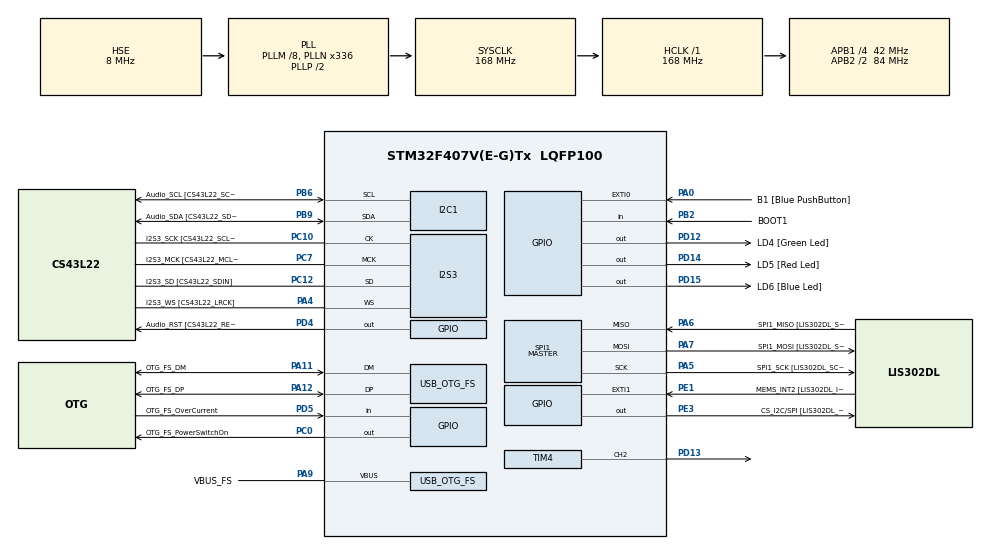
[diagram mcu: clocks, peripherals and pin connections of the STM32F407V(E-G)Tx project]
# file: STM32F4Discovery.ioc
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PA11.GPIO_Speed=GPIO_SPEED_FREQ_LOW
PD12.GPIO_Label=LD4 [Green Led]
PH0-OSC_IN.Signal=RCC_OSC_IN
PC10.GPIO_PuPd=GPIO_NOPULL
SPI1.VirtualType=VM_MASTER
PB10.GPIO_PuPd=GPIO_NOPULL
NVIC.TIM6_DAC_IRQn=true\:0\:0\:false\:false\:true\:true\:true
PA10.GPIO_PuPd=GPIO_NOPULL
PC12.Signal=I2S3_SD
PA14.GPIO_Label=SWCLK
PA6.GPIO_Label=SPI1_MISO [LIS302DL_SDO]
PB6.GPIO_Label=Audio_SCL [CS43L22_SCL]
PC15-OSC32_OUT.GPIO_Label=PC15-OSC32_OUT
PC3.GPIO_Speed=GPIO_SPEED_FREQ_LOW
RCC.SYSCLKSource=RCC_SYSCLKSOURCE_PLLCLK
PA6.GPIO_Mode=GPIO_MODE_AF_PP
PD14.GPIO_Speed=GPIO_SPEED_FREQ_LOW
PA4.Mode=Half_Duplex_Master
SPI1.Direction=SPI_DIRECTION_2LINES
I2S3.AudioFreq-Half_Duplex_Master=I2S_AUDIOFREQ_96K
PD4.Signal=GPIO_Output
RCC.APB2TimFreq_Value=168000000
PB6.Signal=I2C1_SCL
PC7.Signal=I2S3_MCK
PB6.Mode=I2C
PC3.Signal=I2S2_SD
PE1.Signal=GPXTI1
USB_OTG_FS.phy_itface=HCD_PHY_EMBEDDED
PB2.Signal=GPIO_Input
I2S3.ErrorAudioFreq=-2.34 %
PA5.GPIO_PuPd=GPIO_NOPULL
I2S3.ErrorAudioFreq-Half_Duplex_Master=0.8 %
PD5.GPIO_Mode=GPIO_MODE_INPUT
SH.S_TIM4_CH2.0=TIM4_CH2,PWM Generation2 CH2
PD14.GPIO_PuPd=GPIO_NOPULL
TIM4.Period=2000-1
PB2.GPIO_PuPd=GPIO_NOPULL
SPI1.CalculateBaudRate-Full_Duplex_Master=42.0 MBits/s
Mcu.Package=LQFP100
PB9.Signal=I2C1_SDA
PD12.Signal=GPIO_Output
PB9.GPIO_PuPd=GPIO_NOPULL
PA10.Signal=USB_OTG_FS_ID
RCC.APB2CLKDivider=RCC_HCLK_DIV2
RCC.APB1TimFreq_Value=84000000
PC12.GPIO_PuPd=GPIO_NOPULL
PA6.GPIO_Speed=GPIO_SPEED_FREQ_LOW
PA12.GPIO_PuPd=GPIO_NOPULL
PA4.GPIO_Label=I2S3_WS [CS43L22_LRCK]
PD15.Signal=GPIO_Output
PC0.PinState=GPIO_PIN_SET
PA5.Mode=Full_Duplex_Master
I2S3.FullDuplexMode=I2S_FULLDUPLEXMODE_DISABLE
PA9.GPIO_Label=VBUS_FS
PB6.GPIO_PuPd=GPIO_NOPULL
PA11.GPIO_Label=OTG_FS_DM
PE1.GPIO_PuPd=GPIO_NOPULL
PC0.Signal=GPIO_Output
RCC.APB1CLKDivider=RCC_HCLK_DIV4
PC14-OSC32_IN.Signal=RCC_OSC32_IN
PA0-WKUP.GPIO_ModeDefaultEXTI=GPIO_MODE_IT_FALLING
PA0-WKUP.GPIO_Label=B1 [Blue PushButton]
PA0-WKUP.Signal=GPXTI0
USB_HOST0.BSP.STBoard=false
PC10.GPIO_Mode=GPIO_MODE_AF_PP
PB10.GPIO_Mode=GPIO_MODE_AF_PP
PA9.Signal=USB_OTG_FS_VBUS
I2S3.VirtualMode=I2S_MODE_MASTER
PC7.GPIO_PuPd=GPIO_NOPULL
PB10.Signal=I2S2_CK
PA5.Signal=SPI1_SCK
PC12.Mode=Half_Duplex_Master
PE1.GPIO_Label=MEMS_INT2 [LIS302DL_INT2]
USB_HOST.VirtualModeFS=Cdc
PA7.GPIO_Speed=GPIO_SPEED_FREQ_LOW
PB2.GPIO_Mode=GPIO_MODE_INPUT
SPI1.Mode=SPI_MODE_MASTER
PD4.GPIO_Speed=GPIO_SPEED_FREQ_LOW
PE3.GPIO_PuPd=GPIO_NOPULL
PH1-OSC_OUT.GPIO_Label=PH1-OSC_OUT
PA13.Mode=Serial_Wire
PC7.GPIO_Label=I2S3_MCK [CS43L22_MCLK]
PA4.Signal=I2S3_WS
PC12.GPIO_Mode=GPIO_MODE_AF_PP
PA5.GPIO_Label=SPI1_SCK [LIS302DL_SCL/SPC]
PE3.GPIO_Speed=GPIO_SPEED_FREQ_LOW
PC12.GPIO_Label=I2S3_SD [CS43L22_SDIN]
PA11.Signal=USB_OTG_FS_DM
ProjectManager.HeapSize=0x200
NVIC.PriorityGroup=NVIC_PRIORITYGROUP_0
PE3.Signal=GPIO_Output
PC3.GPIO_Label=PDM_OUT [MP45DT02_DOUT]
PA0-WKUP.GPIO_PuPd=GPIO_NOPULL
I2S3.Instance=SPI$Index
PB6.GPIO_Speed=GPIO_SPEED_FREQ_LOW
SPI1.BaudRatePrescaler-Full_Duplex_Master=SPI_BAUDRATEPRESCALER_2
USB_HOST0.BSP.mode=Output
Mcu.Family=STM32F4
PC3.GPIO_Mode=GPIO_MODE_AF_PP
PA6.Mode=Full_Duplex_Master
RCC.CortexFreq_Value=168000000
PB10.GPIO_Speed=GPIO_SPEED_FREQ_LOW
PB6.GPIO_Mode=GPIO_MODE_AF_OD
PD15.GPIO_Speed=GPIO_SPEED_FREQ_LOW
PC10.Signal=I2S3_CK
PA7.GPIO_Mode=GPIO_MODE_AF_PP
PC0.GPIO_Label=OTG_FS_PowerSwitchOn
PA11.Mode=Host_Only
PC10.GPIO_Speed=GPIO_SPEED_FREQ_LOW
PA11.GPIO_PuPd=GPIO_NOPULL
ProjectManager.StackSize=0x400
SPI1.Mode-Full_Duplex_Master=SPI_MODE_MASTER
PD13.Signal=S_TIM4_CH2
PA12.Signal=USB_OTG_FS_DP
RCC.HCLKFreq_Value=168000000
USB_HOST0.BSP.ip=GPIO
RCC.AHBFreq_Value=168000000
PH0-OSC_IN.Mode=HSE-External-Oscillator
PH0-OSC_IN.GPIO_Label=PH0-OSC_IN
PA9.GPIO_Mode=GPIO_MODE_INPUT
RCC.HSE_VALUE=8000000
PA4.GPIO_PuPd=GPIO_NOPULL
PA4.GPIO_Speed=GPIO_SPEED_FREQ_LOW
PA6.GPIO_PuPd=GPIO_NOPULL
PC14-OSC32_IN.Mode=LSE-External-Oscillator
PA14.Mode=Serial_Wire
PA10.GPIO_Label=OTG_FS_ID
PC7.GPIO_Mode=GPIO_MODE_AF_PP
TIM6.Period=9999
USB_HOST0.BSP.i2creg=0
PH1-OSC_OUT.Mode=HSE-External-Oscillator
USB_HOST0.BSP.i2caddr=0
PA6.Signal=SPI1_MISO
USB_HOST.USBH_HandleTypeDef-CDC_FS=hUsbHostFS
PD5.GPIO_Label=OTG_FS_OverCurrent
NVIC.OTG_FS_IRQn=true\:0\:0\:false\:false\:true\:true\:true
PD15.GPIO_PuPd=GPIO_NOPULL
USB_OTG_FS.VirtualMode=Host_Only
PA10.GPIO_Speed=GPIO_SPEED_FREQ_LOW
USB_HOST0.BSP.name=Drive_VBUS_FS
PB9.GPIO_Speed=GPIO_SPEED_FREQ_LOW
PC14-OSC32_IN.GPIO_Label=PC14-OSC32_IN
PC0.GPIO_PuPd=GPIO_NOPULL
PA12.GPIO_Speed=GPIO_SPEED_FREQ_LOW
PB3.GPIO_Label=SWO
PC15-OSC32_OUT.Mode=LSE-External-Oscillator
TIM4.AutoReloadPreload=TIM_AUTORELOAD_PRELOAD_ENABLE
PD12.GPIO_Speed=GPIO_SPEED_FREQ_LOW
PD15.GPIO_Label=LD6 [Blue Led]
PA7.Mode=Full_Duplex_Master
PB9.GPIO_Label=Audio_SDA [CS43L22_SDA]
PC10.GPIO_Label=I2S3_SCK [CS43L22_SCLK]
TIM6.Prescaler=8399
USB_HOST0.BSP.solution=PC0
PC10.Mode=Half_Duplex_Master
VP_TIM6_VS_ClockSourceINT.Mode=Enable_Timer
USB_HOST.BSP.number=1
PD5.Signal=GPIO_Input
PE1.GPIO_ModeDefaultEXTI=GPIO_MODE_EVT_RISING
PA9.GPIO_PuPd=GPIO_NOPULL
PA12.GPIO_Label=OTG_FS_DP
PA10.GPIO_Mode=GPIO_MODE_AF_PP
PA13.Signal=SYS_JTMS-SWDIO
TIM6.AutoReloadPreload=TIM_AUTORELOAD_PRELOAD_ENABLE
PD4.GPIO_PuPd=GPIO_NOPULL
PA9.Mode=Activate_VBUS
PC0.GPIO_Speed=GPIO_SPEED_FREQ_LOW
I2S3.RealAudioFreq-Half_Duplex_Master=96.774 KHz
ProjectManager.TargetToolchain=MDK-ARM V5.27
PB10.GPIO_Label=CLK_IN [MP45DT02_CLK]
PB9.Mode=I2C
TIM4.Prescaler=1080-1
PC15-OSC32_OUT.Signal=RCC_OSC32_OUT
PA7.GPIO_PuPd=GPIO_NOPULL
board=STM32F407G-DISC1
PC7.GPIO_Speed=GPIO_SPEED_FREQ_LOW
RCC.VCOOutputFreq_Value=336000000
PB9.GPIO_Mode=GPIO_MODE_AF_OD
PA12.GPIO_Mode=GPIO_MODE_AF_PP
PA4.GPIO_Mode=GPIO_MODE_AF_PP
TIM4.Channel-PWM\ Generation2\ CH2=TIM_CHANNEL_2
RCC.APB2Freq_Value=84000000
USB_HOST0.BSP.api=Unknown
PD4.GPIO_Label=Audio_RST [CS43L22_RESET]
PH1-OSC_OUT.Signal=RCC_OSC_OUT
PD5.GPIO_PuPd=GPIO_NOPULL
PD14.GPIO_Label=LD5 [Red Led]
Mcu.Name=STM32F407V(E-G)Tx
PA13.GPIO_Label=SWDIO
PD14.Signal=GPIO_Output
RCC.48MHZClocksFreq_Value=48000000
PB3.Signal=SYS_JTDO-SWO
NVIC.EXTI0_IRQn=true\:0\:0\:false\:false\:true\:true\:true
RCC.SYSCLKFreq_VALUE=168000000
PA7.GPIO_Label=SPI1_MOSI [LIS302DL_SDA/SDI/SDO]
PA12.Mode=Host_Only
VP_USB_HOST_VS_USB_HOST_CDC_FS.Mode=CDC_FS
PA14.Signal=SYS_JTCK-SWCLK
PB2.GPIO_Label=BOOT1
RCC.HSI_VALUE=16000000
PA5.GPIO_Speed=GPIO_SPEED_FREQ_LOW
RCC.PLLQ=7
I2S3.RealAudioFreq=93.75 KHz
RCC.PLLM=8
RCC.PLLN=336
PE3.GPIO_Label=CS_I2C/SPI [LIS302DL_CS_I2C/SPI]
PC7.Mode=Master_Clock_Activated
PA11.GPIO_Mode=GPIO_MODE_AF_PP
RCC.APB1Freq_Value=42000000
PA5.GPIO_Mode=GPIO_MODE_AF_PP
PC12.GPIO_Speed=GPIO_SPEED_FREQ_LOW
PC3.GPIO_PuPd=GPIO_NOPULL
PD12.GPIO_PuPd=GPIO_NOPULL
PA7.Signal=SPI1_MOSI
USB_HOST0.BSP.instance=PC0

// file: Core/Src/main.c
/* USER CODE BEGIN Header */
/**
  ******************************************************************************
  * @file           : main.c
  * @brief          : Main program body
  ******************************************************************************
  * @attention
  *
  * <h2><center>&copy; Copyright (c) 2020 STMicroelectronics.
  * All rights reserved.</center></h2>
  *
  * This software component is licensed by ST under Ultimate Liberty license
  * SLA0044, the "License"; You may not use this file except in compliance with
  * the License. You may obtain a copy of the License at:
  *                             www.st.com/SLA0044
  *
  ******************************************************************************
  */
/* USER CODE END Header */

#include "main.h"
#include "usb_host.h"

I2C_HandleTypeDef hi2c1;

I2S_HandleTypeDef hi2s3;

SPI_HandleTypeDef hspi1;

TIM_HandleTypeDef htim4;
TIM_HandleTypeDef htim6;

/* USER CODE BEGIN PV */
int16_t value_pwm;
/* USER CODE END PV */

void SystemClock_Config(void);
static void MX_GPIO_Init(void);
static void MX_I2C1_Init(void);
static void MX_I2S3_Init(void);
static void MX_SPI1_Init(void);
static void MX_TIM6_Init(void);
static void MX_TIM4_Init(void);
void MX_USB_HOST_Process(void);

/* USER CODE BEGIN PFP */
void LED_Blink(uint8_t times_short, uint16_t stime, uint8_t times_long, uint16_t ltime);
void User_PWM_Setvalue(uint16_t value);
/* USER CODE END PFP */

int main(void)
{

  /* MCU Configuration--------------------------------------------------------*/

  /* Reset of all peripherals, Initializes the Flash interface and the Systick. */
  HAL_Init();

  /* Configure the system clock */
  SystemClock_Config();

  /* Initialize all configured peripherals */
  MX_GPIO_Init();
  MX_I2C1_Init();
  MX_I2S3_Init();
  MX_SPI1_Init();
  MX_USB_HOST_Init();
  MX_TIM6_Init();
  MX_TIM4_Init();
  /* USER CODE BEGIN 2 */
	LED_Blink(4, 250, 0, 0);
	HAL_TIM_Base_Start_IT(&htim6);
  /* USER CODE END 2 */

  /* Infinite loop */
  while (1)
  {
    MX_USB_HOST_Process();

    /* USER CODE BEGIN 3 */
//    HAL_GPIO_TogglePin(LD3_GPIO_Port, LD3_Pin);	HAL_Delay(500);		// use for TIM4 (PWM)
//    HAL_GPIO_TogglePin(LD5_GPIO_Port, LD5_Pin);	HAL_Delay(500);		// use for EXTI0
    HAL_GPIO_TogglePin(LD6_GPIO_Port, LD6_Pin);	//HAL_Delay(500);
//    HAL_GPIO_TogglePin(LD4_GPIO_Port, LD4_Pin);	HAL_Delay(500);		// use for TIM6

		for(value_pwm=0; value_pwm<2000; value_pwm+=10)
		{
			User_PWM_Setvalue(value_pwm);
			HAL_Delay(5);
		}
		for(; value_pwm>0; value_pwm-=10)
		{
			User_PWM_Setvalue(value_pwm);
			HAL_Delay(5);
		}
  }
  /* USER CODE END 3 */
}

void SystemClock_Config(void)
{
  RCC_OscInitTypeDef RCC_OscInitStruct = {0};
  RCC_ClkInitTypeDef RCC_ClkInitStruct = {0};
  RCC_PeriphCLKInitTypeDef PeriphClkInitStruct = {0};

  /** Configure the main internal regulator output voltage
  */
  __HAL_RCC_PWR_CLK_ENABLE();
  __HAL_PWR_VOLTAGESCALING_CONFIG(PWR_REGULATOR_VOLTAGE_SCALE1);
  /** Initializes the CPU, AHB and APB busses clocks
  */
  RCC_OscInitStruct.OscillatorType = RCC_OSCILLATORTYPE_HSE;
  RCC_OscInitStruct.HSEState = RCC_HSE_ON;
  RCC_OscInitStruct.PLL.PLLState = RCC_PLL_ON;
  RCC_OscInitStruct.PLL.PLLSource = RCC_PLLSOURCE_HSE;
  RCC_OscInitStruct.PLL.PLLM = 8;
  RCC_OscInitStruct.PLL.PLLN = 336;
  RCC_OscInitStruct.PLL.PLLP = RCC_PLLP_DIV2;
  RCC_OscInitStruct.PLL.PLLQ = 7;
  if (HAL_RCC_OscConfig(&RCC_OscInitStruct) != HAL_OK)
  {
    Error_Handler();
  }
  /** Initializes the CPU, AHB and APB busses clocks
  */
  RCC_ClkInitStruct.ClockType = RCC_CLOCKTYPE_HCLK|RCC_CLOCKTYPE_SYSCLK
                              |RCC_CLOCKTYPE_PCLK1|RCC_CLOCKTYPE_PCLK2;
  RCC_ClkInitStruct.SYSCLKSource = RCC_SYSCLKSOURCE_PLLCLK;
  RCC_ClkInitStruct.AHBCLKDivider = RCC_SYSCLK_DIV1;
  RCC_ClkInitStruct.APB1CLKDivider = RCC_HCLK_DIV4;
  RCC_ClkInitStruct.APB2CLKDivider = RCC_HCLK_DIV2;

  if (HAL_RCC_ClockConfig(&RCC_ClkInitStruct, FLASH_LATENCY_5) != HAL_OK)
  {
    Error_Handler();
  }
  PeriphClkInitStruct.PeriphClockSelection = RCC_PERIPHCLK_I2S;
  PeriphClkInitStruct.PLLI2S.PLLI2SN = 192;
  PeriphClkInitStruct.PLLI2S.PLLI2SR = 2;
  if (HAL_RCCEx_PeriphCLKConfig(&PeriphClkInitStruct) != HAL_OK)
  {
    Error_Handler();
  }
}

static void MX_I2C1_Init(void)
{

  hi2c1.Instance = I2C1;
  hi2c1.Init.ClockSpeed = 100000;
  hi2c1.Init.DutyCycle = I2C_DUTYCYCLE_2;
  hi2c1.Init.OwnAddress1 = 0;
  hi2c1.Init.AddressingMode = I2C_ADDRESSINGMODE_7BIT;
  hi2c1.Init.DualAddressMode = I2C_DUALADDRESS_DISABLE;
  hi2c1.Init.OwnAddress2 = 0;
  hi2c1.Init.GeneralCallMode = I2C_GENERALCALL_DISABLE;
  hi2c1.Init.NoStretchMode = I2C_NOSTRETCH_DISABLE;
  if (HAL_I2C_Init(&hi2c1) != HAL_OK)
  {
    Error_Handler();
  }

}

static void MX_I2S3_Init(void)
{

  hi2s3.Instance = SPI3;
  hi2s3.Init.Mode = I2S_MODE_MASTER_TX;
  hi2s3.Init.Standard = I2S_STANDARD_PHILIPS;
  hi2s3.Init.DataFormat = I2S_DATAFORMAT_16B;
  hi2s3.Init.MCLKOutput = I2S_MCLKOUTPUT_ENABLE;
  hi2s3.Init.AudioFreq = I2S_AUDIOFREQ_96K;
  hi2s3.Init.CPOL = I2S_CPOL_LOW;
  hi2s3.Init.ClockSource = I2S_CLOCK_PLL;
  hi2s3.Init.FullDuplexMode = I2S_FULLDUPLEXMODE_DISABLE;
  if (HAL_I2S_Init(&hi2s3) != HAL_OK)
  {
    Error_Handler();
  }

}

static void MX_SPI1_Init(void)
{

  /* SPI1 parameter configuration*/
  hspi1.Instance = SPI1;
  hspi1.Init.Mode = SPI_MODE_MASTER;
  hspi1.Init.Direction = SPI_DIRECTION_2LINES;
  hspi1.Init.DataSize = SPI_DATASIZE_8BIT;
  hspi1.Init.CLKPolarity = SPI_POLARITY_LOW;
  hspi1.Init.CLKPhase = SPI_PHASE_1EDGE;
  hspi1.Init.NSS = SPI_NSS_SOFT;
  hspi1.Init.BaudRatePrescaler = SPI_BAUDRATEPRESCALER_2;
  hspi1.Init.FirstBit = SPI_FIRSTBIT_MSB;
  hspi1.Init.TIMode = SPI_TIMODE_DISABLE;
  hspi1.Init.CRCCalculation = SPI_CRCCALCULATION_DISABLE;
  hspi1.Init.CRCPolynomial = 10;
  if (HAL_SPI_Init(&hspi1) != HAL_OK)
  {
    Error_Handler();
  }

}

static void MX_TIM4_Init(void)
{

  TIM_MasterConfigTypeDef sMasterConfig = {0};
  TIM_OC_InitTypeDef sConfigOC = {0};

  htim4.Instance = TIM4;
  htim4.Init.Prescaler = 100-1;
  htim4.Init.CounterMode = TIM_COUNTERMODE_UP;
  htim4.Init.Period = 2000-1;
  htim4.Init.ClockDivision = TIM_CLOCKDIVISION_DIV1;
  htim4.Init.AutoReloadPreload = TIM_AUTORELOAD_PRELOAD_ENABLE;
  if (HAL_TIM_PWM_Init(&htim4) != HAL_OK)
  {
    Error_Handler();
  }
  sMasterConfig.MasterOutputTrigger = TIM_TRGO_RESET;
  sMasterConfig.MasterSlaveMode = TIM_MASTERSLAVEMODE_DISABLE;
  if (HAL_TIMEx_MasterConfigSynchronization(&htim4, &sMasterConfig) != HAL_OK)
  {
    Error_Handler();
  }
  sConfigOC.OCMode = TIM_OCMODE_PWM1;
  sConfigOC.Pulse = 0;
  sConfigOC.OCPolarity = TIM_OCPOLARITY_HIGH;
  sConfigOC.OCFastMode = TIM_OCFAST_DISABLE;
  if (HAL_TIM_PWM_ConfigChannel(&htim4, &sConfigOC, TIM_CHANNEL_2) != HAL_OK)
  {
    Error_Handler();
  }
  HAL_TIM_MspPostInit(&htim4);

}

static void MX_TIM6_Init(void)
{

  TIM_MasterConfigTypeDef sMasterConfig = {0};

  htim6.Instance = TIM6;
  htim6.Init.Prescaler = 8399;
  htim6.Init.CounterMode = TIM_COUNTERMODE_UP;
  htim6.Init.Period = 9999;
  htim6.Init.AutoReloadPreload = TIM_AUTORELOAD_PRELOAD_ENABLE;
  if (HAL_TIM_Base_Init(&htim6) != HAL_OK)
  {
    Error_Handler();
  }
  sMasterConfig.MasterOutputTrigger = TIM_TRGO_RESET;
  sMasterConfig.MasterSlaveMode = TIM_MASTERSLAVEMODE_DISABLE;
  if (HAL_TIMEx_MasterConfigSynchronization(&htim6, &sMasterConfig) != HAL_OK)
  {
    Error_Handler();
  }

}

static void MX_GPIO_Init(void)
{
  GPIO_InitTypeDef GPIO_InitStruct = {0};

  /* GPIO Ports Clock Enable */
  __HAL_RCC_GPIOE_CLK_ENABLE();
  __HAL_RCC_GPIOC_CLK_ENABLE();
  __HAL_RCC_GPIOH_CLK_ENABLE();
  __HAL_RCC_GPIOA_CLK_ENABLE();
  __HAL_RCC_GPIOB_CLK_ENABLE();
  __HAL_RCC_GPIOD_CLK_ENABLE();

  /*Configure GPIO pin Output Level */
  HAL_GPIO_WritePin(CS_I2C_SPI_GPIO_Port, CS_I2C_SPI_Pin, GPIO_PIN_RESET);

  /*Configure GPIO pin Output Level */
  HAL_GPIO_WritePin(OTG_FS_PowerSwitchOn_GPIO_Port, OTG_FS_PowerSwitchOn_Pin, GPIO_PIN_SET);

  /*Configure GPIO pin Output Level */
  HAL_GPIO_WritePin(GPIOD, LD4_Pin|LD5_Pin|LD6_Pin|Audio_RST_Pin, GPIO_PIN_RESET);

  /*Configure GPIO pin : CS_I2C_SPI_Pin */
  GPIO_InitStruct.Pin = CS_I2C_SPI_Pin;
  GPIO_InitStruct.Mode = GPIO_MODE_OUTPUT_PP;
  GPIO_InitStruct.Pull = GPIO_NOPULL;
  GPIO_InitStruct.Speed = GPIO_SPEED_FREQ_LOW;
  HAL_GPIO_Init(CS_I2C_SPI_GPIO_Port, &GPIO_InitStruct);

  /*Configure GPIO pin : OTG_FS_PowerSwitchOn_Pin */
  GPIO_InitStruct.Pin = OTG_FS_PowerSwitchOn_Pin;
  GPIO_InitStruct.Mode = GPIO_MODE_OUTPUT_PP;
  GPIO_InitStruct.Pull = GPIO_NOPULL;
  GPIO_InitStruct.Speed = GPIO_SPEED_FREQ_LOW;
  HAL_GPIO_Init(OTG_FS_PowerSwitchOn_GPIO_Port, &GPIO_InitStruct);

  /*Configure GPIO pin : PDM_OUT_Pin */
  GPIO_InitStruct.Pin = PDM_OUT_Pin;
  GPIO_InitStruct.Mode = GPIO_MODE_AF_PP;
  GPIO_InitStruct.Pull = GPIO_NOPULL;
  GPIO_InitStruct.Speed = GPIO_SPEED_FREQ_LOW;
  GPIO_InitStruct.Alternate = GPIO_AF5_SPI2;
  HAL_GPIO_Init(PDM_OUT_GPIO_Port, &GPIO_InitStruct);

  /*Configure GPIO pin : B1_Pin */
  GPIO_InitStruct.Pin = B1_Pin;
  GPIO_InitStruct.Mode = GPIO_MODE_IT_FALLING;
  GPIO_InitStruct.Pull = GPIO_NOPULL;
  HAL_GPIO_Init(B1_GPIO_Port, &GPIO_InitStruct);

  /*Configure GPIO pin : BOOT1_Pin */
  GPIO_InitStruct.Pin = BOOT1_Pin;
  GPIO_InitStruct.Mode = GPIO_MODE_INPUT;
  GPIO_InitStruct.Pull = GPIO_NOPULL;
  HAL_GPIO_Init(BOOT1_GPIO_Port, &GPIO_InitStruct);

  /*Configure GPIO pin : CLK_IN_Pin */
  GPIO_InitStruct.Pin = CLK_IN_Pin;
  GPIO_InitStruct.Mode = GPIO_MODE_AF_PP;
  GPIO_InitStruct.Pull = GPIO_NOPULL;
  GPIO_InitStruct.Speed = GPIO_SPEED_FREQ_LOW;
  GPIO_InitStruct.Alternate = GPIO_AF5_SPI2;
  HAL_GPIO_Init(CLK_IN_GPIO_Port, &GPIO_InitStruct);

  /*Configure GPIO pins : LD4_Pin LD5_Pin LD6_Pin Audio_RST_Pin */
  GPIO_InitStruct.Pin = LD4_Pin|LD5_Pin|LD6_Pin|Audio_RST_Pin;
  GPIO_InitStruct.Mode = GPIO_MODE_OUTPUT_PP;
  GPIO_InitStruct.Pull = GPIO_NOPULL;
  GPIO_InitStruct.Speed = GPIO_SPEED_FREQ_LOW;
  HAL_GPIO_Init(GPIOD, &GPIO_InitStruct);

  /*Configure GPIO pin : OTG_FS_OverCurrent_Pin */
  GPIO_InitStruct.Pin = OTG_FS_OverCurrent_Pin;
  GPIO_InitStruct.Mode = GPIO_MODE_INPUT;
  GPIO_InitStruct.Pull = GPIO_NOPULL;
  HAL_GPIO_Init(OTG_FS_OverCurrent_GPIO_Port, &GPIO_InitStruct);

  /*Configure GPIO pin : MEMS_INT2_Pin */
  GPIO_InitStruct.Pin = MEMS_INT2_Pin;
  GPIO_InitStruct.Mode = GPIO_MODE_EVT_RISING;
  GPIO_InitStruct.Pull = GPIO_NOPULL;
  HAL_GPIO_Init(MEMS_INT2_GPIO_Port, &GPIO_InitStruct);

  /* EXTI interrupt init*/
  HAL_NVIC_SetPriority(EXTI0_IRQn, 0, 0);
  HAL_NVIC_EnableIRQ(EXTI0_IRQn);

}

/* USER CODE BEGIN 4 */
void LED_Blink(uint8_t times_short, uint16_t stime, uint8_t times_long, uint16_t ltime)
{
	unsigned char tmp;
	for(tmp=0; tmp<times_short*2; tmp++)
	{
		HAL_GPIO_TogglePin(LD6_GPIO_Port, LD6_Pin);
		HAL_GPIO_TogglePin(LD5_GPIO_Port, LD5_Pin);
		HAL_GPIO_TogglePin(LD4_GPIO_Port, LD4_Pin);
		User_PWM_Setvalue(tmp%2? 0:2000);
		HAL_Delay(stime);
	}
	HAL_Delay(stime);
	for(tmp=0; tmp<times_long*2; tmp++)
	{
		HAL_GPIO_TogglePin(LD6_GPIO_Port, LD6_Pin);
		HAL_GPIO_TogglePin(LD5_GPIO_Port, LD5_Pin);
		HAL_GPIO_TogglePin(LD4_GPIO_Port, LD4_Pin);
		User_PWM_Setvalue(tmp%2? 0:2000);
		HAL_Delay(tmp%2? ltime:stime);
	}
	HAL_Delay(stime);
}
void User_PWM_Setvalue(uint16_t value)
{
	TIM_OC_InitTypeDef sConfigOC;

	sConfigOC.OCMode = TIM_OCMODE_PWM1;
	sConfigOC.Pulse = value;
	sConfigOC.OCPolarity = TIM_OCPOLARITY_HIGH;
	sConfigOC.OCFastMode = TIM_OCFAST_DISABLE;
	HAL_TIM_PWM_ConfigChannel(&htim4, &sConfigOC, TIM_CHANNEL_2);
	HAL_TIM_PWM_Start(&htim4, TIM_CHANNEL_2);
}
/* USER CODE END 4 */

void Error_Handler(void)
{
}

/************************ (C) COPYRIGHT STMicroelectronics *****END OF FILE****/
